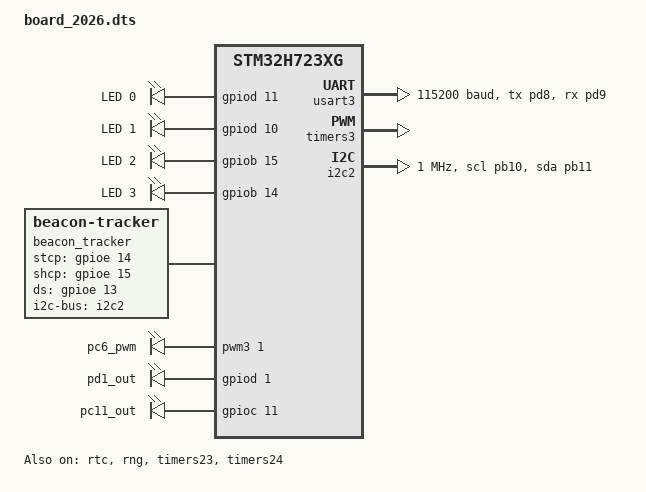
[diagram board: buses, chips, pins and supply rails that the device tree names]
/dts-v1/;
#include <st/h7/stm32h723Xg.dtsi>
#include <st/h7/stm32h723zgtx-pinctrl.dtsi>

#include <zephyr/dt-bindings/pwm/pwm.h>
#include <zephyr/dt-bindings/gpio/gpio.h>
#include <zephyr/dt-bindings/sensor/qdec_stm32.h>

/ {

	chosen {
		zephyr,console = &usart3;
		zephyr,shell-uart = &usart3;
		zephyr,sram = &sram0;
		zephyr,flash = &flash0;
	};

	leds: leds {
		compatible = "gpio-leds";

		led0: led_0 {
			gpios = <&gpiod 11 GPIO_ACTIVE_HIGH>;
			label = "LED 0";
		};

		led1: led_1 {
			gpios = <&gpiod 10 GPIO_ACTIVE_HIGH>;
			label = "LED 1";
		};

		led2: led_2 {
			gpios = <&gpiob 15 GPIO_ACTIVE_HIGH>;
			label = "LED 2";
		};

		led3: led_3 {
			gpios = <&gpiob 14 GPIO_ACTIVE_HIGH>;
			label = "LED 3";
		};
	};

	beacon_tracker: beacon-tracker {
		compatible = "beacon-tracker";
		i2c-bus = <&i2c2>;
		addresses = <0x30 0x31 0x32 0x33 0x34 0x35 0x36 0x37>;
		stcp-gpios = <&gpioe 14 GPIO_ACTIVE_HIGH>;
		shcp-gpios = <&gpioe 15 GPIO_ACTIVE_HIGH>;
		ds-gpios = <&gpioe 13 GPIO_ACTIVE_HIGH>;
	};

	aliases {
		lidar = &beacon_tracker;
		i2c-0 = &i2c2;
		led0 = &led0;
		my-pwm = &pc6_pwm;
		my-pin = &pd1_out;
		my-pin2 = &pc11_out;
		right-encoder = &qdec23;
		left-encoder = &qdec24;
	};

	pwm_outputs {
		compatible = "pwm-leds";

		pc6_pwm: pc6_pwm {
			pwms = <&pwm3 1 PWM_KHZ(25) PWM_POLARITY_NORMAL>;
		};
	};

	gpio_outputs {
		compatible = "gpio-leds";

		pd1_out: pd1_out {
			gpios = <&gpiod 1 GPIO_ACTIVE_HIGH>;
		};

		pc11_out: pc11_out {
			gpios = <&gpioc 11 GPIO_ACTIVE_HIGH>;
		};
	};

};

&clk_hsi {
	status = "okay";
	hsi-div = <1>;
};

&clk_lsi {
	status = "okay";
};

&clk_hsi48 {
	status = "okay";
};

&pll {
	status = "okay";
	clocks = <&clk_hsi>;
	div-m = <4>;
	mul-n = <60>;
	div-p = <2>;
	div-q = <5>;
	div-r = <2>;
};

&pll2 {
	status = "disabled";
};

&pll3 {
	status = "disabled";
};

&rcc {
	clocks = <&pll>;
	clock-frequency = <DT_FREQ_M(480)>;
	d1cpre = <1>;
	hpre = <2>;    /* HCLK: 275   MHz */
	d1ppre = <2>;  /* APB1: 137.5 MHz */
	d2ppre1 = <2>; /* APB2: 137.5 MHz */
	d2ppre2 = <2>; /* APB3: 137.5 MHz */
	d3ppre = <2>;  /* APB4: 137.5 MHz */
};

&pwr {
	power-supply = "ldo";
};

&usart3 {
	pinctrl-0 = <&usart3_tx_pd8 &usart3_rx_pd9>;
	pinctrl-names = "default";
	current-speed = <115200>;
	status = "okay";
};

&rtc {
	clocks = <&rcc STM32_CLOCK(APB4, 16)>,
			 <&rcc STM32_SRC_LSI RTC_SEL(2)>;
	status = "okay";
};

&timers3 {
	status = "okay";
	st,prescaler = <3>;

	pwm3: pwm {
		status = "okay";
		pinctrl-0 = <&tim3_ch1_pc6>;
		pinctrl-names = "default";
	};
};

&rng {
	status = "okay";
};

&fdcan1 {
	status = "disabled";
};

&i2c2 {
	pinctrl-0 = <&i2c2_scl_pb10 &i2c2_sda_pb11>;
	pinctrl-names = "default";
	status = "okay";
	clock-frequency = <I2C_BITRATE_FAST_PLUS>;
	timings = <120000000 1000000 0xD42036>; /* use samples/boards/st/i2c_timing to get the parameters */
};

&pinctrl {
	enc23_ch1_pf6: enc23_ch1_pf6 {
		pinmux = <STM32_PINMUX('F', 6, AF13)>;
		bias-disable;
		drive-push-pull;
		slew-rate = "low-speed";
	};

	enc23_ch2_pg13: enc23_ch2_pg13 {
		pinmux = <STM32_PINMUX('G', 13, AF13)>;
		bias-disable;
		drive-push-pull;
		slew-rate = "low-speed";
	};

	enc24_ch1_pf11: enc24_ch1_pf11 {
		pinmux = <STM32_PINMUX('F', 11, AF14)>;
		bias-disable;
		drive-push-pull;
		slew-rate = "low-speed";
	};

	enc24_ch2_pf12: enc24_ch2_pf12 {
		pinmux = <STM32_PINMUX('F', 12, AF14)>;
		bias-disable;
		drive-push-pull;
		slew-rate = "low-speed";
	};
};

&timers23 {
	status = "okay";

	qdec23: qdecoder {
		compatible = "st,stm32-qdec";
		status = "okay";
		pinctrl-0 = <&enc23_ch1_pf6 &enc23_ch2_pg13>;
		pinctrl-names = "default";
		st,input-filter-level = <0>;
		st,counts-per-revolution = <5000>;
	};
};

&timers24 {
	status = "okay";

	qdec24: qdecoder {
		compatible = "st,stm32-qdec";
		status = "okay";
		pinctrl-0 = <&enc24_ch1_pf11 &enc24_ch2_pf12>;
		pinctrl-names = "default";
		st,input-filter-level = <0>;
		st,counts-per-revolution = <5000>;
	};
};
